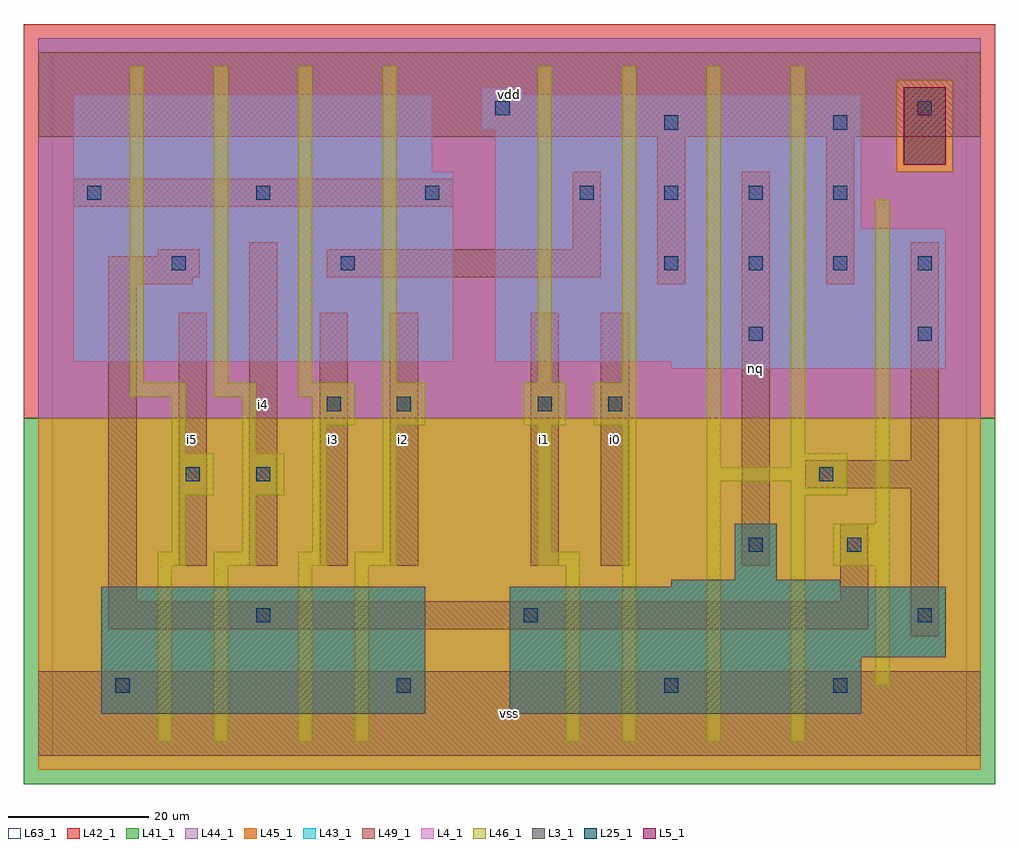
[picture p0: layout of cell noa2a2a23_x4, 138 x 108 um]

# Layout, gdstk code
import gdstk
lib = gdstk.Library(unit=1e-6, precision=1e-09)
def R(c, l, rs):  # rectangles x0, y0, x1, y1
    for r in rs: c.add(gdstk.rectangle(r[:2], r[2:], *l))
def A(c, l, x, y, w, h, nx, ny, dx, dy):  # array of equal rectangles
    R(c, l, [(x+i*dx, y+j*dy, x+i*dx+w, y+j*dy+h) for i in range(nx) for j in range(ny)])
L3_1 = (3, 1)
L4_1 = (4, 1)
L5_1 = (5, 1)
L25_1 = (25, 1)
L41_1 = (41, 1)
L42_1 = (42, 1)
L43_1 = (43, 1)
L44_1 = (44, 1)
L45_1 = (45, 1)
L46_1 = (46, 1)
L49_1 = (49, 1)
L63_1 = (63, 1)

noa2a2a23_x4 = lib.new_cell('noa2a2a23_x4')
R(noa2a2a23_x4, L3_1, [(7,6,53,24), (65,6,115,14), (65,14,127,24), (88,24,112,25), (97,25,103,33)])
R(noa2a2a23_x4, L4_1, [(88,55,127,56), (3,56,57,83), (63,56,127,75), (63,75,115,89), (3,83,54,94), (61,89,115,94), (61,94,67,95)])
R(noa2a2a23_x4, L5_1, [(121,84,127,95)])
A(noa2a2a23_x4, L25_1, 87, 69, 2, 2, 4, 1, 12, 0)
A(noa2a2a23_x4, L25_1, 5, 79, 2, 2, 3, 1, 24, 0)
A(noa2a2a23_x4, L25_1, 75, 79, 2, 2, 4, 1, 12, 0)
R(noa2a2a23_x4, L25_1, [(9,9,11,11), (49,9,51,11), (87,9,89,11), (111,9,113,11), (29,19,31,21), (67,19,69,21), (123,19,125,21), (99,29,101,31), (113,29,115,31), (19,39,21,41), (29,39,31,41), (109,39,111,41), (39,49,41,51), (49,49,51,51), (69,49,71,51), (79,49,81,51), (99,59,101,61), (123,59,125,61), (17,69,19,71), (41,69,43,71), (87,89,89,91), (111,89,113,91), (63,91,65,93), (123,91,125,93)])
R(noa2a2a23_x4, L41_1, [(-4,-4,134,48)])
R(noa2a2a23_x4, L42_1, [(-4,48,134,104)])
R(noa2a2a23_x4, L43_1, [(7,6,53,24), (65,6,115,14), (65,14,127,24), (88,24,112,25), (97,25,103,33), (88,55,127,56), (3,56,57,83), (63,56,127,75), (63,75,115,89), (3,83,54,94), (121,84,127,95), (61,89,115,94), (61,94,67,95)])
R(noa2a2a23_x4, L44_1, [(-2,48,132,83), (-2,83,120,96), (128,83,132,96), (-2,96,132,102)])
R(noa2a2a23_x4, L45_1, [(-2,-2,132,48), (120,83,128,96)])
A(noa2a2a23_x4, L46_1, 11, 53, 2, 45, 4, 1, 12, 0)
R(noa2a2a23_x4, L46_1, [(15,2,17,27), (23,2,25,27), (35,2,37,27), (43,2,45,27), (73,2,75,27), (81,2,83,47), (93,2,95,39), (105,2,107,37), (117,10,119,27), (15,27,19,29), (23,27,29,29), (35,27,39,29), (43,27,49,29), (69,27,75,29), (111,27,119,33), (17,29,19,37), (27,29,29,37), (37,29,39,47), (47,29,49,47), (69,29,71,47), (117,33,119,79), (17,37,23,43), (27,37,33,43), (105,37,113,39), (93,39,113,41), (93,41,95,98), (105,41,113,43), (17,43,19,51), (27,43,29,51), (105,43,107,98), (37,47,43,51), (47,47,53,53), (67,47,73,53), (77,47,83,53), (11,51,19,53), (23,51,29,53), (35,51,43,53), (69,53,71,98), (81,53,83,98)])
R(noa2a2a23_x4, L49_1, [(-2,0,132,12), (122,17,126,38), (8,18,116,22), (8,22,12,67), (112,22,116,33), (18,27,22,63), (28,27,32,73), (38,27,42,63), (48,27,52,63), (68,27,72,63), (78,27,82,63), (98,27,102,83), (107,38,126,42), (122,42,126,73), (8,67,20,68), (86,67,90,88), (110,67,114,88), (8,68,21,71), (39,68,78,72), (15,71,21,72), (74,72,78,83), (3,78,57,82), (-2,88,132,100)])
R(noa2a2a23_x4, L63_1, [(0,0,130,100)])
noa2a2a23_x4.add(gdstk.Label('i5', (20,45), layer=49, texttype=1))
noa2a2a23_x4.add(gdstk.Label('i4', (30,50), layer=49, texttype=1))
noa2a2a23_x4.add(gdstk.Label('i3', (40,45), layer=49, texttype=1))
noa2a2a23_x4.add(gdstk.Label('vss', (65,6), layer=49, texttype=1))
noa2a2a23_x4.add(gdstk.Label('i2', (50,45), layer=49, texttype=1))
noa2a2a23_x4.add(gdstk.Label('i1', (70,45), layer=49, texttype=1))
noa2a2a23_x4.add(gdstk.Label('vdd', (65,94), layer=49, texttype=1))
noa2a2a23_x4.add(gdstk.Label('i0', (80,45), layer=49, texttype=1))
noa2a2a23_x4.add(gdstk.Label('nq', (100,55), layer=49, texttype=1))

lib.write_gds('noa2a2a23_x4.gds')
